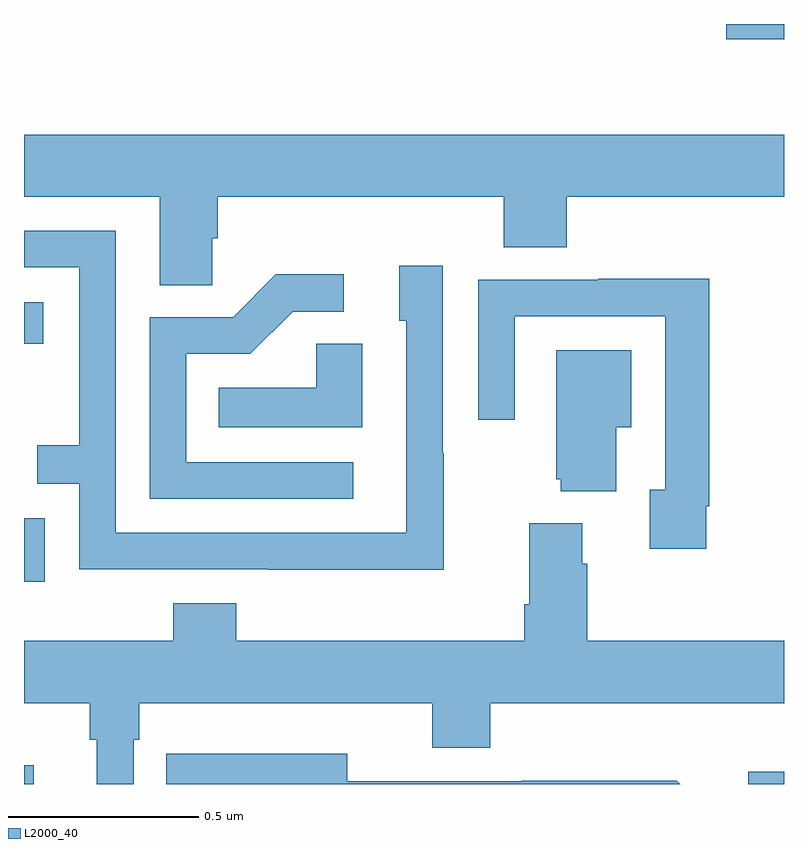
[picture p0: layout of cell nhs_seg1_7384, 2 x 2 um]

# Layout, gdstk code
import gdstk
lib = gdstk.Library(unit=1e-6, precision=1e-09)
def R(c, l, rs):  # rectangles x0, y0, x1, y1
    for r in rs: c.add(gdstk.rectangle(r[:2], r[2:], *l))
def P(c, l, *ps):  # polygons
    for p in ps: c.add(gdstk.Polygon(p, *l))
L2000_40 = (2000, 40)

nhs_seg1_7384 = lib.new_cell('nhs_seg1_7384')
R(nhs_seg1_7384, L2000_40, [(203,538.199,203.026,538.249), (204.906,538.199,205,538.231), (203,538.731,203.055,538.899), (203,539.357,203.05,539.467), (204.848,540.159,205,540.199)])
P(nhs_seg1_7384, L2000_40, [(203.496,539.635),(203.51,539.635),(203.51,539.744),(204.263,539.744),(204.263,539.611),(204.428,539.611),(204.428,539.744),(205,539.744),(205,539.908),(203,539.908),(203,539.744),(203.357,539.744),(203.357,539.512),(203.496,539.512)],
  [(204.105,539.069),(204.102,539.069),(204.102,539.563),(203.987,539.563),(203.987,539.418),(204.006,539.418),(204.006,538.86),(203.241,538.86),(203.241,539.655),(203,539.655),(203,539.559),(203.145,539.559),(203.145,539.09),(203.035,539.09),(203.035,538.989),(203.145,538.989),(203.145,538.764),(203.641,538.764),(203.641,538.763),(204.105,538.763)],
  [(203.866,539.046),(203.427,539.046),(203.427,539.331),(203.596,539.331),(203.707,539.442),(203.842,539.442),(203.842,539.54),(203.663,539.54),(203.55,539.427),(203.331,539.427),(203.331,538.95),(203.866,538.95)],
  [(204.796,538.93),(204.803,538.93),(204.803,539.528),(204.511,539.528),(204.511,539.526),(204.195,539.526),(204.195,539.157),(204.291,539.157),(204.291,539.43),(204.687,539.43),(204.687,538.974),(204.647,538.974),(204.647,538.818),(204.796,538.818)],
  [(203.89,539.357),(203.769,539.357),(203.769,539.242),(203.512,539.242),(203.512,539.138),(203.89,539.138)],
  [(204.559,539.138),(204.598,539.138),(204.598,539.341),(204.401,539.341),(204.401,539.001),(204.413,539.001),(204.413,538.97),(204.559,538.97)],
  [(203.289,538.316),(203.303,538.316),(203.303,538.412),(204.074,538.412),(204.074,538.295),(204.227,538.295),(204.227,538.412),(205,538.412),(205,538.576),(204.482,538.576),(204.482,538.778),(204.469,538.778),(204.469,538.885),(204.329,538.885),(204.329,538.672),(204.317,538.672),(204.317,538.576),(203.558,538.576),(203.558,538.675),(203.393,538.675),(203.393,538.576),(203,538.576),(203,538.412),(203.173,538.412),(203.173,538.316),(203.192,538.316),(203.192,538.199),(203.289,538.199)],
  [(204.718,538.208),(204.31,538.208),(204.31,538.206),(203.85,538.206),(203.85,538.279),(203.482,538.279),(203.482,538.278),(203.374,538.278),(203.374,538.199),(204.727,538.199)])

lib.write_gds('nhs_seg1_7384.gds')
